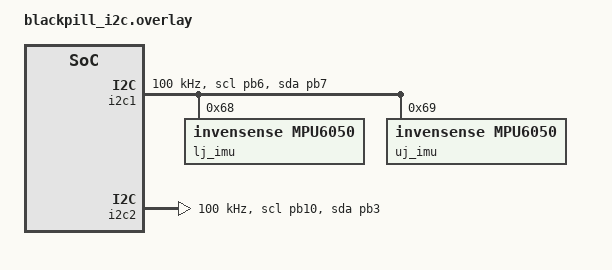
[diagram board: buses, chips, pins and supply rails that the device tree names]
&i2c1 {
	status = "okay";
	pinctrl-0  = <&i2c1_scl_pb6 &i2c1_sda_pb7>;
	pinctrl-names = "default";
	clock-frequency = <I2C_BITRATE_STANDARD>;
	lj_imu: mpu6050@68 {
		compatible = "invensense,mpu6050";
		reg = <0x68>;
		status = "okay";
	};
	uj_imu: mpu6050@69 {
		compatible = "invensense,mpu6050";
		reg = <0x69>;
		status = "okay";
	};
};

&i2c2 {
	status = "okay";
	pinctrl-0 = <&i2c2_scl_pb10 &i2c2_sda_pb3>;
	pinctrl-names = "default";
	clock-frequency = <I2C_BITRATE_STANDARD>;
};
